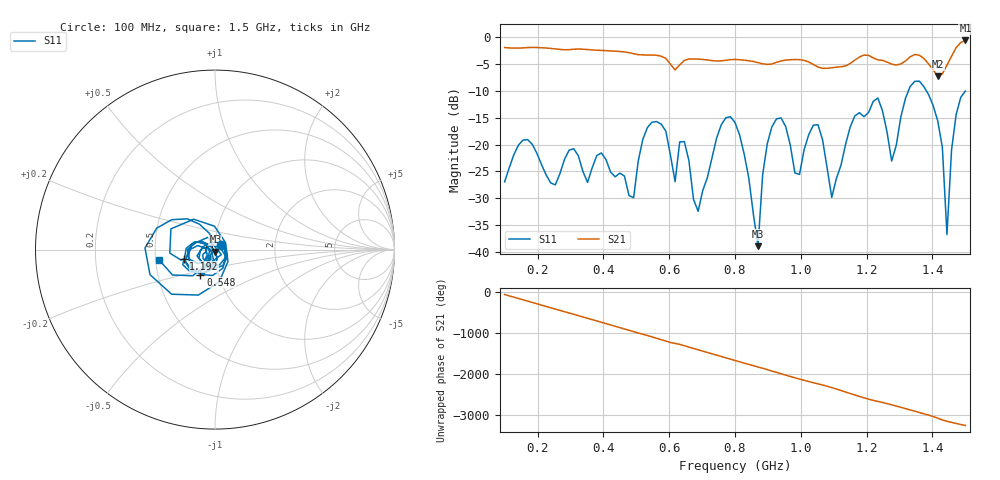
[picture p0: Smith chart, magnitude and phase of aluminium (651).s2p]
! NanoVNA-App
! Date: 2025-09-25 15:00:21
! Start: 100MHz Stop: 1,5GHz Points: 101
! S-Parameter data: F S11 S21 S12 S22
# Hz S RI R 50
!  Frequency  S11_Real  S11_Imag  S21_Real  S21_Imag  S12_Real  S12_Imag  S22_Real  S22_Imag
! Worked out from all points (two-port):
!   101 points, 100 MHz to 1.5 GHz, reference 50 ohm
!   highest |S21| = -0.60 dB at 1.5 GHz (marker M1); lowest = -7.3 dB at 1.416 GHz (marker M2)
!   |S21| within 3 dB of the highest: start of sweep to 578 MHz; 1.457 GHz to end of sweep (the widest 2 of 4)
!   lowest |S11| = -38.9 dB at 870 MHz (marker M3), VSWR 1.02, Z = 50.2 - j1.12 ohm
!   |S11| at or under -10 dB: start of sweep to 1.327 GHz; 1.382 GHz to end of sweep
!   S12 and S22 are empty: the file has one direction only
!   S11 on the Smith chart (normalised r, x): 100 MHz: 1.07, +0.06; 548 MHz: 0.82, -0.23; 1.192 GHz: 0.70, -0.08; 1.5 GHz: 0.52, -0.07
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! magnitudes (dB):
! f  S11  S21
! 100 MHz  -27.0  -1.9
! 156 MHz  -19.2  -2.0
! 338 MHz  -25.0  -2.2
! 492 MHz  -29.9  -3.1
! 548 MHz  -15.8  -3.3
! 576 MHz  -16.2  -3.5
! 646 MHz  -19.5  -4.3
! 688 MHz  -32.4  -4.1
! 800 MHz  -15.9  -4.1
! 870 MHz  -38.9  -4.7
! 912 MHz  -16.7  -5.0
! 996 MHz  -25.6  -4.2
! 1.038 GHz  -16.4  -5.1
! 1.094 GHz  -29.9  -5.7
! 1.192 GHz  -14.8  -3.3
! 1.234 GHz  -11.3  -4.2
! 1.276 GHz  -23.1  -5.0
! 1.346 GHz  -8.2  -3.2
! 1.416 GHz  -15.6  -7.3
! 1.444 GHz  -36.8  -5.2
! 1.458 GHz  -21.0  -3.5
! 1.5 GHz  -10.0  -0.6
